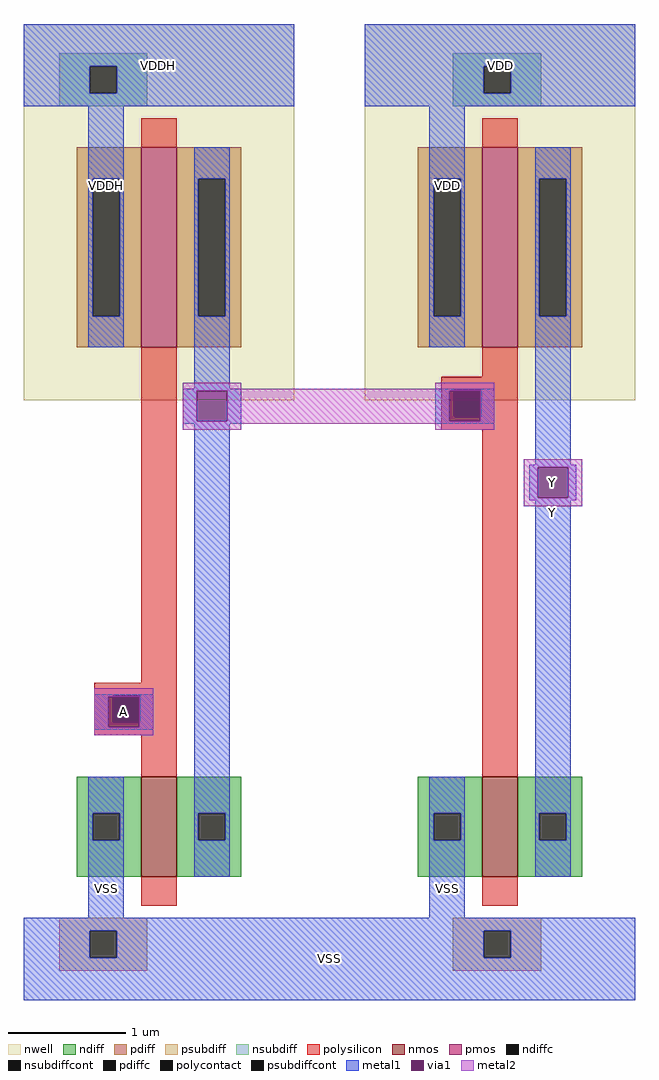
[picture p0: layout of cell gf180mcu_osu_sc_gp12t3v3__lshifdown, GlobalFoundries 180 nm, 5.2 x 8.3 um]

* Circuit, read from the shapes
.subckt gf180mcu_osu_sc_gp12t3v3__lshifdown A Y VDDH VDD VSS
XM1 n1 A VSS VSS nfet_03v3 w=0.85u l=0.3u
XM2 Y n1 VSS VSS nfet_03v3 w=0.85u l=0.3u
XM3 n1 A VDDH VDDH pfet_03v3 w=1.7u l=0.3u
XM4 Y n1 VDD VDD pfet_03v3 w=1.7u l=0.3u
.ends

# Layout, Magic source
magic
tech gf180mcuA
magscale 1 10
<< nwell >>
rect 0 1020 460 1660
rect 580 1020 1040 1660
<< nmos >>
rect 200 210 260 380
rect 780 210 840 380
<< pmos >>
rect 200 1110 260 1450
rect 780 1110 840 1450
<< ndiff >>
rect 90 318 200 380
rect 90 272 117 318
rect 163 272 200 318
rect 90 210 200 272
rect 260 318 370 380
rect 260 272 297 318
rect 343 272 370 318
rect 260 210 370 272
rect 670 318 780 380
rect 670 272 697 318
rect 743 272 780 318
rect 670 210 780 272
rect 840 318 950 380
rect 840 272 877 318
rect 923 272 950 318
rect 840 210 950 272
<< pdiff >>
rect 90 1397 200 1450
rect 90 1163 117 1397
rect 163 1163 200 1397
rect 90 1110 200 1163
rect 260 1397 370 1450
rect 260 1163 297 1397
rect 343 1163 370 1397
rect 260 1110 370 1163
rect 670 1397 780 1450
rect 670 1163 697 1397
rect 743 1163 780 1397
rect 670 1110 780 1163
rect 840 1397 950 1450
rect 840 1163 877 1397
rect 923 1163 950 1397
rect 840 1110 950 1163
<< ndiffc >>
rect 117 272 163 318
rect 297 272 343 318
rect 697 272 743 318
rect 877 272 923 318
<< pdiffc >>
rect 117 1163 163 1397
rect 297 1163 343 1397
rect 697 1163 743 1397
rect 877 1163 923 1397
<< psubdiff >>
rect 60 118 210 140
rect 60 72 112 118
rect 158 72 210 118
rect 60 50 210 72
rect 730 118 880 140
rect 730 72 782 118
rect 828 72 880 118
rect 730 50 880 72
<< nsubdiff >>
rect 60 1588 210 1610
rect 60 1542 112 1588
rect 158 1542 210 1588
rect 60 1520 210 1542
rect 730 1588 880 1610
rect 730 1542 782 1588
rect 828 1542 880 1588
rect 730 1520 880 1542
<< psubdiffcont >>
rect 112 72 158 118
rect 782 72 828 118
<< nsubdiffcont >>
rect 112 1542 158 1588
rect 782 1542 828 1588
<< polysilicon >>
rect 200 1450 260 1500
rect 780 1450 840 1500
rect 200 540 260 1110
rect 780 1060 840 1110
rect 710 1038 840 1060
rect 710 992 732 1038
rect 778 992 840 1038
rect 710 970 840 992
rect 120 518 260 540
rect 120 472 152 518
rect 198 472 260 518
rect 120 450 260 472
rect 200 380 260 450
rect 780 380 840 970
rect 200 160 260 210
rect 780 160 840 210
<< polycontact >>
rect 732 992 778 1038
rect 152 472 198 518
<< metal1 >>
rect 0 1588 460 1660
rect 0 1542 112 1588
rect 158 1542 460 1588
rect 0 1520 460 1542
rect 580 1588 1040 1660
rect 580 1542 782 1588
rect 828 1542 1040 1588
rect 580 1520 1040 1542
rect 110 1397 170 1520
rect 110 1163 117 1397
rect 163 1163 170 1397
rect 110 1110 170 1163
rect 290 1397 350 1450
rect 290 1163 297 1397
rect 343 1163 350 1397
rect 290 1040 350 1163
rect 690 1397 750 1520
rect 690 1163 697 1397
rect 743 1163 750 1397
rect 690 1110 750 1163
rect 870 1397 930 1450
rect 870 1163 877 1397
rect 923 1163 930 1397
rect 270 1036 370 1040
rect 270 984 294 1036
rect 346 984 370 1036
rect 270 980 370 984
rect 700 1038 800 1040
rect 700 1036 732 1038
rect 700 984 724 1036
rect 778 992 800 1038
rect 776 984 800 992
rect 700 980 800 984
rect 120 518 220 520
rect 120 516 152 518
rect 120 464 144 516
rect 198 472 220 518
rect 196 464 220 472
rect 120 460 220 464
rect 110 318 170 380
rect 110 272 117 318
rect 163 272 170 318
rect 110 140 170 272
rect 290 318 350 980
rect 870 910 930 1163
rect 860 906 940 910
rect 860 854 874 906
rect 926 854 940 906
rect 860 850 940 854
rect 290 272 297 318
rect 343 272 350 318
rect 290 210 350 272
rect 690 318 750 380
rect 690 272 697 318
rect 743 272 750 318
rect 690 140 750 272
rect 870 318 930 850
rect 870 272 877 318
rect 923 272 930 318
rect 870 210 930 272
rect 0 118 1040 140
rect 0 72 112 118
rect 158 72 782 118
rect 828 72 1040 118
rect 0 0 1040 72
<< via1 >>
rect 294 984 346 1036
rect 724 992 732 1036
rect 732 992 776 1036
rect 724 984 776 992
rect 144 472 152 516
rect 152 472 196 516
rect 144 464 196 472
rect 874 854 926 906
<< metal2 >>
rect 270 1040 370 1050
rect 700 1040 800 1050
rect 270 1036 800 1040
rect 270 984 294 1036
rect 346 984 724 1036
rect 776 984 800 1036
rect 270 980 800 984
rect 270 970 370 980
rect 700 970 800 980
rect 850 906 950 920
rect 850 854 874 906
rect 926 854 950 906
rect 850 840 950 854
rect 120 516 220 530
rect 120 464 144 516
rect 196 464 220 516
rect 120 450 220 464
<< labels >>
rlabel via1 s 144 464 196 516 4 A
port 1 nsew signal input
rlabel via1 s 874 854 926 906 4 Y
port 2 nsew signal output
rlabel metal1 s 110 1110 170 1660 4 VDDH
port 3 nsew power bidirectional
rlabel metal1 s 690 1110 750 1660 4 VDD
port 4 nsew power bidirectional abutment
rlabel metal1 s 110 0 170 380 4 VSS
port 5 nsew ground bidirectional abutment
rlabel metal1 s 580 1520 1040 1660 1 VDD
port 4 nsew power bidirectional abutment
rlabel metal1 s 0 1520 460 1660 1 VDDH
port 3 nsew power bidirectional
rlabel metal1 s 690 0 750 380 1 VSS
port 5 nsew ground bidirectional abutment
rlabel metal1 s 0 0 1040 140 1 VSS
port 5 nsew ground bidirectional abutment
rlabel metal2 s 120 450 220 530 1 A
port 1 nsew signal input
rlabel metal1 s 120 460 220 520 1 A
port 1 nsew signal input
rlabel metal2 s 850 840 950 920 1 Y
port 2 nsew signal output
rlabel metal1 s 870 210 930 1450 1 Y
port 2 nsew signal output
rlabel metal1 s 860 850 940 910 1 Y
port 2 nsew signal output
<< properties >>
string FIXED_BBOX 0 0 1040 1660
string GDS_END 447772
string GDS_FILE $PDKPATH/libs.ref/gf180mcu_osu_sc_gp12t3v3/gds/gf180mcu_osu_sc_gp12t3v3.gds
string GDS_START 442452
string LEFclass CORE
string LEFsite gf180mcu_osu_sc_gp12t3v3
string LEFsymmetry X Y
<< end >>
